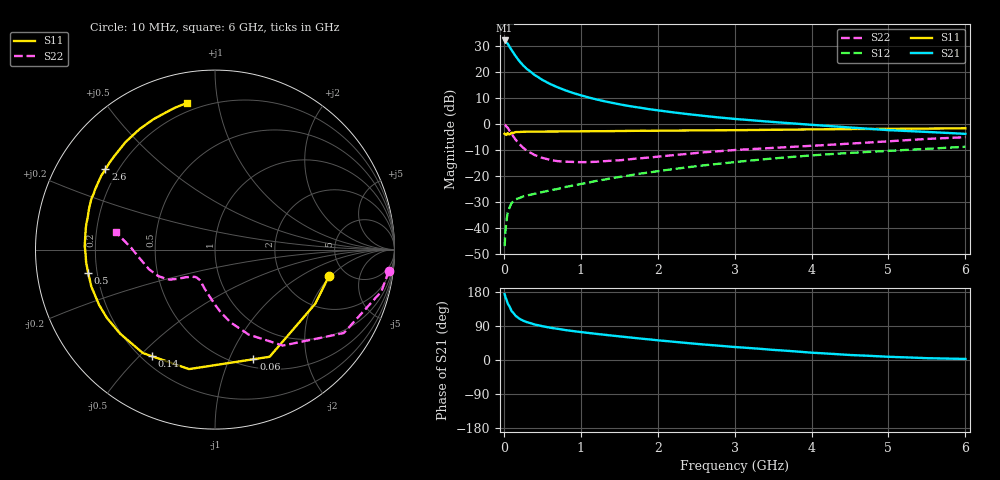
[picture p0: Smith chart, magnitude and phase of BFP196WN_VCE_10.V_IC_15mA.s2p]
! (c) 2017  Infineon Technologies AG, Munich
! Infineon Technologies  Discrete & RF Semiconductors
! BFP196WN
! VCE =  10. V,  IC =  15 mA
! Common Emitter S-Parameters:  Jan 2017
# GHz  S  MA  R  50
!  f  S11  S21  S12  S22
! GHz  MAG  ANG  MAG  ANG  MAG  ANG  MAG  ANG
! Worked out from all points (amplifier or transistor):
!   77 points, 10 MHz to 6 GHz, reference 50 ohm
!   highest |S21| = 32.2 dB at 10 MHz (marker M1)
!   |S21| within 3 dB of that: start of sweep to 85.88 MHz
!   unconditionally stable (mu >= 1): 1.016 GHz to 2.665 GHz
!   at 130 MHz: K = 0.25, MSG = 28.4 dB, |S12| = -29.5 dB
!   at 2.2 GHz: K = 1.04, MAG = 9.7 dB, |S12| = -17.3 dB
!   at 6 GHz: K = 0.86, MSG = 2.5 dB, |S12| = -8.7 dB
!   S11 on the Smith chart (normalised r, x): 10 MHz: 3.71, -1.91; 60 MHz: 0.59, -1.23; 140 MHz: 0.24, -0.55; 500 MHz: 0.17, -0.09; 2.6 GHz: 0.15, +0.32; 6 GHz: 0.15, +0.81
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0.01  0.6519 -13.1  40.6 174.0  0.0045 82.9  0.9756 -6.9
0.02  0.635 -28.3  38.85 166.7  0.0084 77.6  0.9561 -14.1
0.05  0.6702 -63.0  35.3 149.3  0.0199 62.7  0.8551 -32.9
0.06  0.6474 -70.7  33.3 146.1  0.0219 58.8  0.807 -36.4
0.1  0.6814 -102.3  26.7 129.2  0.0304 48.7  0.6543 -54.8
0.14  0.69 -120.5  21.73 120.1  0.0346 42.6  0.5354 -65.1
0.15  0.7027 -124.9  20.59 117.2  0.0357 41.3  0.5092 -68.4
0.2  0.7063 -138.5  16.37 109.3  0.0378 38.0  0.4151 -77.9
0.25  0.7125 -147.7  13.52 103.8  0.0407 38.1  0.3533 -84.5
0.3  0.7155 -154.4  11.48 99.8  0.0424 37.7  0.3072 -90.0
0.4  0.7193 -163.4  8.792 93.6  0.0458 39.6  0.2544 -98.1
0.5  0.7183 -169.6  7.084 89.2  0.0493 42.0  0.2247 -105.0
0.7  0.7216 -178.1  5.09 82.2  0.0567 47.0  0.1939 -113.9
0.9  0.726 175.5  3.969 76.3  0.066 51.3  0.1874 -120.3
1.1  0.7296 170.7  3.26 71.4  0.0751 54.7  0.1866 -124.7
1.5  0.737 162.6  2.409 62.4  0.0962 58.4  0.2016 -131.9
2.1  0.7485 152.0  1.762 50.2  0.1303 60.3  0.2445 -139.6
2.6  0.7568 143.8  1.439 40.9  0.1611 59.6  0.2875 -145.0
3.1  0.7667 136.0  1.225 32.9  0.1924 57.6  0.3236 -150.4
4.1  0.7934 120.7  0.947 18.2  0.2559 51.4  0.3902 -165.5
5.1  0.8124 109.3  0.754 7.8  0.3117 44.0  0.4771 177.6
6  0.8319 100.9  0.649 2.8  0.3669 37.6  0.5599 170.2
